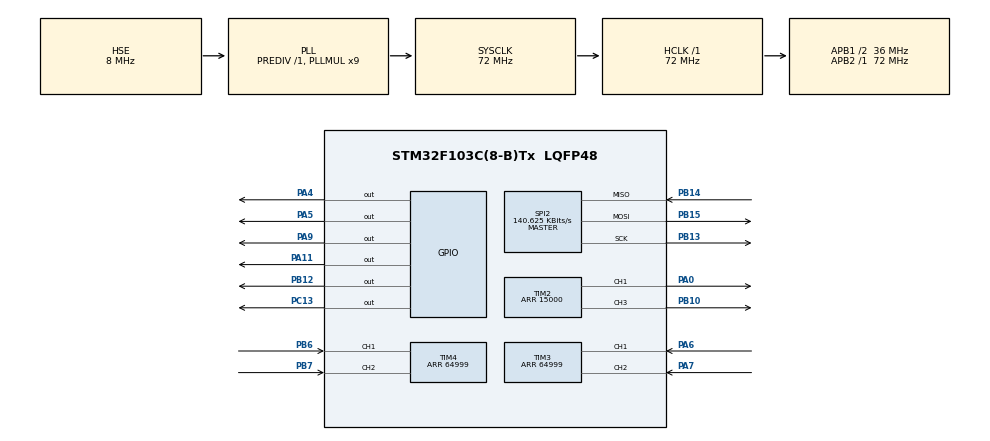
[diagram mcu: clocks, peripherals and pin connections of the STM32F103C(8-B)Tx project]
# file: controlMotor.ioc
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Mcu.Family=STM32F1
Mcu.Name=STM32F103C(8-B)Tx
Mcu.Package=LQFP48
NVIC.PriorityGroup=NVIC_PRIORITYGROUP_4
NVIC.SPI2_IRQn=true\:0\:0\:false\:false\:true\:true\:true
NVIC.TIM1_BRK_IRQn=true\:0\:0\:false\:false\:true\:true\:true
NVIC.TIM1_CC_IRQn=true\:0\:0\:false\:false\:true\:true\:true
NVIC.TIM1_TRG_COM_IRQn=true\:0\:0\:false\:false\:true\:true\:true
NVIC.TIM1_UP_IRQn=true\:0\:0\:false\:false\:true\:true\:true
NVIC.TIM3_IRQn=true\:0\:0\:false\:false\:true\:true\:true
NVIC.TIM4_IRQn=true\:0\:0\:false\:false\:true\:true\:true
PA0-WKUP.Signal=S_TIM2_CH1_ETR
PA11.Signal=GPIO_Output
PA13.Mode=Serial_Wire
PA13.Signal=SYS_JTMS-SWDIO
PA14.Mode=Serial_Wire
PA14.Signal=SYS_JTCK-SWCLK
PA4.Signal=GPIO_Output
PA5.Signal=GPIO_Output
PA6.Signal=S_TIM3_CH1
PA7.Signal=S_TIM3_CH2
PA9.Signal=GPIO_Output
PB10.Signal=S_TIM2_CH3
PB12.Signal=GPIO_Output
PB13.Mode=Full_Duplex_Master
PB13.Signal=SPI2_SCK
PB14.Mode=Full_Duplex_Master
PB14.Signal=SPI2_MISO
PB15.Mode=Full_Duplex_Master
PB15.Signal=SPI2_MOSI
PB6.Signal=S_TIM4_CH1
PB7.Signal=S_TIM4_CH2
PC13-TAMPER-RTC.Signal=GPIO_Output
PD0-OSC_IN.Mode=HSE-External-Oscillator
PD0-OSC_IN.Signal=RCC_OSC_IN
PD1-OSC_OUT.Mode=HSE-External-Oscillator
PD1-OSC_OUT.Signal=RCC_OSC_OUT
ProjectManager.HeapSize=0x200
ProjectManager.StackSize=0x400
ProjectManager.TargetToolchain=STM32CubeIDE
RCC.AHBFreq_Value=72000000
RCC.APB1CLKDivider=RCC_HCLK_DIV2
RCC.APB1Freq_Value=36000000
RCC.APB1TimFreq_Value=72000000
RCC.APB2Freq_Value=72000000
RCC.APB2TimFreq_Value=72000000
RCC.HCLKFreq_Value=72000000
RCC.PLLMUL=RCC_PLL_MUL9
RCC.PLLSourceVirtual=RCC_PLLSOURCE_HSE
RCC.SYSCLKFreq_VALUE=72000000
RCC.SYSCLKSource=RCC_SYSCLKSOURCE_PLLCLK
RCC.USBFreq_Value=72000000
SH.S_TIM2_CH1_ETR.0=TIM2_CH1,PWM Generation1 CH1
SH.S_TIM2_CH3.0=TIM2_CH3,PWM Generation3 CH3
SH.S_TIM3_CH1.0=TIM3_CH1,Encoder_Interface
SH.S_TIM3_CH2.0=TIM3_CH2,Encoder_Interface
SH.S_TIM4_CH1.0=TIM4_CH1,Encoder_Interface
SH.S_TIM4_CH2.0=TIM4_CH2,Encoder_Interface
SPI2.BaudRatePrescaler=SPI_BAUDRATEPRESCALER_256
SPI2.CalculateBaudRate=140.625 KBits/s
SPI2.Direction=SPI_DIRECTION_2LINES
SPI2.Mode=SPI_MODE_MASTER
SPI2.VirtualType=VM_MASTER
TIM1.Channel-Output\ Compare1\ No\ Output=TIM_CHANNEL_1
TIM1.Period=59999
TIM1.Prescaler=11
TIM2.Channel-PWM\ Generation1\ CH1=TIM_CHANNEL_1
TIM2.Channel-PWM\ Generation3\ CH3=TIM_CHANNEL_3
TIM2.Period=15000
TIM3.EncoderMode=TIM_ENCODERMODE_TI12
TIM3.Period=64999
TIM4.EncoderMode=TIM_ENCODERMODE_TI12
TIM4.Period=64999
VP_TIM1_VS_ClockSourceINT.Mode=Internal
VP_TIM1_VS_no_output1.Mode=Output Compare1 No Output
VP_TIM2_VS_ClockSourceINT.Mode=Internal
board=custom

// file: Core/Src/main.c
/* USER CODE BEGIN Header */
/**
 ******************************************************************************
 * @file           : main.c
 * @brief          : Main program body
 ******************************************************************************
 * @attention
 *
 * <h2><center>&copy; Copyright (c) 2021 STMicroelectronics.
 * All rights reserved.</center></h2>
 *
 * This software component is licensed by ST under BSD 3-Clause license,
 * the "License"; You may not use this file except in compliance with the
 * License. You may obtain a copy of the License at:
 *                        opensource.org/licenses/BSD-3-Clause
 *
 ******************************************************************************
 */
/* USER CODE END Header */
#include "main.h"

/* USER CODE BEGIN Includes */
#include "stdlib.h"
#include <stdio.h>
#include <inttypes.h>
#include "math.h"
/* USER CODE END Includes */

/* USER CODE BEGIN PD */
#define MAX_BUFFER 40
/* USER CODE END PD */

SPI_HandleTypeDef hspi2;

TIM_HandleTypeDef htim1;
TIM_HandleTypeDef htim2;
TIM_HandleTypeDef htim3;
TIM_HandleTypeDef htim4;

/* USER CODE BEGIN PV */
uint8_t byte;
//uint8_t byte,
uint8_t indRx = 0, flagRx, imprimir = 1, sentido;
char buffer[MAX_BUFFER];
uint8_t in_buffer[17];

int questionFlag = 0; // 0 = false ; 1 = true
int contOUFlow = 0, pulsosAnt = 0, pulsosAct = 0;
int contOUFlow2 = 0, pulsosAnt2 = 0, pulsosAct2 = 0;
double velocidadPulsos = 0, velocidadRPM = 0, deltaT = 0.01;
double velocidadPulsos2 = 0, velocidadRPM2 = 0;
double speedTest = 29.98;
int num_spi = 0;
int indexBuf = 0;
uint8_t out_buffer[14] = { ':', 'w', '1', '-', '2', '5', ';', ':', 'w', '2',
		'-', '2', '5', 'P' };
uint8_t sign_w[2] = { '+', '-' };
uint8_t resp_speed;
//variables para control
double error_vel_act = 0, error_vel_ant = 0;
double error_vel_act2 = 0, error_vel_ant2 = 0;
double velocidad_consigna = 0;
double velocidad_consigna2 = 0;
double KP1 = 20, KI1 = 2, KD1 = 4;
double KP2 = 20, KI2 = 2, KD2 = 4;

double Ui_anterior = 0, Ui_actual = 0; // para control integral
double Up = 0;
double Ud = 0;
double Ui_anterior2 = 0, Ui_actual2 = 0; // para control integral
double Up2 = 0;
double Ud2 = 0;

int control = 1;
int contador = 0; //contador de tiempo para activar la señal de referencia;
int flagCont = 0;
uint32_t duty_cycle_pid = 0;
uint32_t duty_cycle_pid2 = 0;
int stop1 = 1;
int stop2 = 1;
/* USER CODE END PV */

void SystemClock_Config(void);
static void MX_GPIO_Init(void);
static void MX_TIM1_Init(void);
static void MX_TIM2_Init(void);
static void MX_TIM3_Init(void);
static void MX_TIM4_Init(void);
static void MX_SPI2_Init(void);

/* USER CODE BEGIN 0 */
uint8_t* getSign(int motor) {
	if (motor == 1) {
		if (HAL_GPIO_ReadPin(GPIOA, GPIO_PIN_4) == GPIO_PIN_SET
				&& HAL_GPIO_ReadPin(GPIOA, GPIO_PIN_5) == GPIO_PIN_RESET) {
			return &sign_w[0];
		} else if (HAL_GPIO_ReadPin(GPIOA, GPIO_PIN_5) == GPIO_PIN_SET
				&& HAL_GPIO_ReadPin(GPIOA, GPIO_PIN_4) == GPIO_PIN_RESET) {
			return &sign_w[1];
		}
	}
	if (motor == 2) {
		if (HAL_GPIO_ReadPin(GPIOA, GPIO_PIN_9) == GPIO_PIN_SET
				&& HAL_GPIO_ReadPin(GPIOA, GPIO_PIN_11) == GPIO_PIN_RESET) {
			return &sign_w[0];
		} else if (HAL_GPIO_ReadPin(GPIOA, GPIO_PIN_9) == GPIO_PIN_SET
				&& HAL_GPIO_ReadPin(GPIOA, GPIO_PIN_11) == GPIO_PIN_RESET) {
			return &sign_w[1];
		}
	}
	return 0;
}

uint8_t* getSpeed(int motor) {
	char vel = 0;
	if (motor == 1) {
		vel = (char) speedTest;
		resp_speed = (uint8_t) vel;
		return &resp_speed;
	}
	if (motor == 2) {
		vel = (char) speedTest;
		resp_speed = (uint8_t) vel;
		return &resp_speed;
	}
	return 0;
}
void interpreteComando() {

	//uint32_t duty_cycle;
	double consigna;

	switch (buffer[0]) {
	case 'q':
	case 'Q':
		questionFlag = 1;
		break;
	case 'W':
	case 'w':
		switch (buffer[1]) {
		/*codigo ascii de '1' = 49*/
		case 49:
			if (buffer[2]) {
				/*codigo ascii de '+' = 43*/
				if (buffer[2] == 43) {
					stop1 = 0;
					HAL_GPIO_WritePin(GPIOA, GPIO_PIN_4, 1);
					HAL_GPIO_WritePin(GPIOA, GPIO_PIN_5, 0);
					if (buffer[3]) {
						consigna = atof(&buffer[3]);
						if (consigna < 35) {
							velocidad_consigna = consigna;
						} else {
							velocidad_consigna = 35;
						}
//						printf("\r\n Velocidad consigna motor 1 : %s %5.3f \r\n","+", velocidad_consigna);
					}
					/*codigo ascii de '-' = 45*/
				} else if (buffer[2] == 45) {
					HAL_GPIO_WritePin(GPIOA, GPIO_PIN_4, 0);
					HAL_GPIO_WritePin(GPIOA, GPIO_PIN_5, 1);
					stop1 = 0;
					if (buffer[3]) {
						consigna = atof(&buffer[3]);
						if (consigna < 35) {
							velocidad_consigna = -consigna;
						} else {
							velocidad_consigna = -35;
						}
//						printf("\r\n Velocidad consigna motor 1 : %5.3f \r\n", velocidad_consigna);
					}
					/*codigo ascii de '0' = 48*/
				} else if (buffer[2] == 48) {
					velocidad_consigna = 0;
					HAL_GPIO_WritePin(GPIOA, GPIO_PIN_4, 1);
					HAL_GPIO_WritePin(GPIOA, GPIO_PIN_5, 1);
					stop1 = 1;
//					printf("\r\n Velocidad consigna motor 1 : %5.3f \r\n", velocidad_consigna);

				}
			}
			break;
			/*codigo ascii de '2' = 50*/
		case 50:
			if (buffer[2]) {
				if (buffer[2] == 43) {
					stop2 = 0;
					HAL_GPIO_WritePin(GPIOA, GPIO_PIN_9, 1);
					HAL_GPIO_WritePin(GPIOA, GPIO_PIN_11, 0);
					if (buffer[3]) {
						consigna = atof(&buffer[3]);
						if (consigna < 35) {
							velocidad_consigna2 = consigna;
						} else {
							velocidad_consigna2 = 35;
						}
//						printf(
//								"\r\n Velocidad consigna motor 2 :  %s %5.3f \r\n","+", velocidad_consigna2);
					}
				} else if (buffer[2] == 45) {
					stop2 = 0;
					HAL_GPIO_WritePin(GPIOA, GPIO_PIN_9, 0);
					HAL_GPIO_WritePin(GPIOA, GPIO_PIN_11, 1);
					if (buffer[3]) {
						consigna = atof(&buffer[3]);
						if (consigna == 0) {
							velocidad_consigna2 = 0;
						} else if (consigna < 35) {
							velocidad_consigna2 = -consigna;
						} else {
							velocidad_consigna2 = -35;
						}
//						printf("\r\n Velocidad consigna motor 2 :  %5.3f \r\n",velocidad_consigna2);
					}
				} else if (buffer[2] == 48) {
					velocidad_consigna2 = 0;
					HAL_GPIO_WritePin(GPIOA, GPIO_PIN_9, 1);
					HAL_GPIO_WritePin(GPIOA, GPIO_PIN_11, 1);
					stop2 = 0;
//					printf("\r\n Velocidad consigna motor 2 :  %5.3f \r\n",velocidad_consigna2);
				}
			}
			break;
			/*codigo ascii simbolo '?' = 63 */
		case 63:
			/*Transmit velocidad*/
			indexBuf = 0;
			//HAL_SPI_TransmitReceive(&hspi2, &out_buffer[indexBuf], &byte, 1);
			//HAL__IT(&hspi2, out_buffer, 14);
			//HAL_SPI_Transmit(&hspi2,&out_buffer[0], 14, 100);
			//HAL_SPI_Transmit_IT(&hspi2, out_buffer, 14);
//			for (int i = 0; i < 6; i++) {
//					HAL_SPI_Transmit(&hspi2, &out_buffer[i], 1, 100);//, &_data[i], 1, 100);
//				}
			questionFlag = 1;
			break;
		}
		break;
	case 'p':
	case 'P':
		switch (buffer[1]) {
		/*codigo ascii de '1' = 49*/
		case 49:
			consigna = atof(&buffer[2]);
			KP1 = (float) consigna;
			printf("\r\n");
			break;
			/*codigo ascii de '2' = 50*/
		case 50:
			consigna = atof(&buffer[2]);
			KP2 = (float) consigna;
			printf("\r\n");
			break;
		default:
			printf("\r\n Por favor indicar el valor correcto ( 1 ó 2 )\r\n");
			break;

		}
		break;
	case 'i':
	case 'I':
		switch (buffer[1]) {
		/*codigo ascii de '1' = 49*/
		case 49:
			consigna = atof(&buffer[2]);
			KI1 = (float) consigna;
			printf("\r\n");
			break;
			/*codigo ascii de '2' = 50*/
		case 50:
			consigna = atof(&buffer[2]);
			KI2 = (float) consigna;
			printf("\r\n");
			break;
		default:
			printf("\r\n Por favor indicar el valor correcto ( 1 ó 2 )\r\n");
			break;
		}
		break;
	case 'd':
	case 'D':
		switch (buffer[1]) {
		/*codigo ascii de '1' = 49*/
		case 49:
			consigna = atof(&buffer[2]);
			KD1 = (float) consigna;
			printf("\r\n");
			break;
			/*codigo ascii de '2' = 50*/
		case 50:
			consigna = atof(&buffer[2]);
			KD2 = (float) consigna;
			printf("\r\n");
			break;
		default:
			printf("\r\n Por favor indicar el valor correcto ( 1 ó 2 )\r\n");
			break;
		}
		break;
	}

}

void HAL_TIM_PeriodElapsedCallback(TIM_HandleTypeDef *htim) {
	if (htim->Instance == TIM1) {

		//pulsosAct = contOUFlow*(htim3.Instance->ARR) + __HAL_TIM_GET_COUNTER(&htim3);
		pulsosAct = (contOUFlow * 65000) + __HAL_TIM_GET_COUNTER(&htim3);
		velocidadPulsos = (pulsosAct - pulsosAnt) / deltaT;
		velocidadRPM = velocidadPulsos / (168 * 44) * 60;
		pulsosAnt = pulsosAct;

		pulsosAct2 = (contOUFlow2 * 65000) + __HAL_TIM_GET_COUNTER(&htim4);
		velocidadPulsos2 = (pulsosAct2 - pulsosAnt2) / deltaT;
		velocidadRPM2 = velocidadPulsos2 / (168 * 44) * 60;
		pulsosAnt2 = pulsosAct2;

		//para el control
		if (control == 1) {
			//calculo PID:
			/*
			 *----------------  control motor 1
			 */
			error_vel_act = velocidad_consigna - velocidadRPM;
//			if(error_vel_act<0 ){
//				HAL_GPIO_WritePin(GPIOA, GPIO_PIN_4, 0);
//			    HAL_GPIO_WritePin(GPIOA, GPIO_PIN_5, 1);
//			}else if(error_vel_act>0){
//				HAL_GPIO_WritePin(GPIOA, GPIO_PIN_4, 1);
//			   HAL_GPIO_WritePin(GPIOA, GPIO_PIN_5, 0);
//			}
//			else if(error_vel_act==0){
//				Ui_anterior=0;
//			}
			if (stop1 == 1) {
				Ui_anterior = 0;
			}
//			error_vel_acterror_vel_act);
			Up = KP1 * error_vel_act;
			Ui_actual = Ui_anterior + (KI1 * deltaT * error_vel_ant);
			Ud = (KD1 / deltaT) * (error_vel_act - error_vel_ant);
			if (velocidad_consigna > 0) {
				duty_cycle_pid = (uint32_t) fabs(
						duty_cycle_pid + (Up + Ui_actual + Ud));
			} else if (velocidad_consigna < 0) {
				duty_cycle_pid = (uint32_t) fabs(
						duty_cycle_pid - (Up + Ui_actual + Ud));
			} else {
				duty_cycle_pid = 0;
			}

			if (duty_cycle_pid > 14000) {
				duty_cycle_pid = 14000;
			}
			__HAL_TIM_SET_COMPARE(&htim2, TIM_CHANNEL_1, duty_cycle_pid);
			Ui_anterior = Ui_actual;
			error_vel_ant = error_vel_act;

			/*
			 * ------------------control motor 2
			 */
			error_vel_act2 = velocidad_consigna2 - velocidadRPM2;

//			if(error_vel_act2<0 ){
//				HAL_GPIO_WritePin(GPIOA, GPIO_PIN_9, 0);
//				HAL_GPIO_WritePin(GPIOA, GPIO_PIN_11, 1);
//			}else if(error_vel_act2>0){
//				HAL_GPIO_WritePin(GPIOA, GPIO_PIN_9, 1);
//			    HAL_GPIO_WritePin(GPIOA, GPIO_PIN_11, 0);
//			}
//			else if(error_vel_act2==0){
//				Ui_anterior2=0;
//			}
//			error_vel_act2= fabs(error_vel_act2);
			if (stop2 == 1) {
				Ui_anterior2 = 0;
			}
			Up2 = KP2 * error_vel_act2;
			Ui_actual2 = Ui_anterior2 + KI2 * deltaT * error_vel_ant2;
			Ud2 = KD2 / deltaT * (error_vel_act2 - error_vel_ant2);
			if (velocidad_consigna2 > 0) {
				duty_cycle_pid2 = (uint32_t) fabs(
						duty_cycle_pid2 + (Up2 + Ui_actual2 + Ud2));
			} else if (velocidad_consigna2 < 0) {
				duty_cycle_pid2 = (uint32_t) fabs(
						duty_cycle_pid2 - (Up2 + Ui_actual2 + Ud2));
			} else {
				duty_cycle_pid2 = 0;
			}
			if (duty_cycle_pid2 > 14000) {
				duty_cycle_pid2 = 14000;
			}
			__HAL_TIM_SET_COMPARE(&htim2, TIM_CHANNEL_3, duty_cycle_pid2);
			Ui_anterior2 = Ui_actual2;
			error_vel_ant2 = error_vel_act2;
		}
	} else if (htim->Instance == TIM3) {
		if (__HAL_TIM_GET_COUNTER(&htim3) > (htim->Init.Period + 1) / 2) { //Underflow
			contOUFlow--;
//			printf("underflow motor 1 \r\n");
		} else { //Overflow
			contOUFlow++;
//			printf("overflow motor 1 \r\n");
		}
	} else if (htim->Instance == TIM4) {
		if (__HAL_TIM_GET_COUNTER(&htim4) > (htim->Init.Period + 1) / 2) { //Underflow
			contOUFlow2--;
//			printf("underflow motor 2 \r\n");
		} else { //Overflow
			contOUFlow2++;
//			printf("overflow motor 2 \r\n");
		}
	}
}

void HAL_SPI_TxCpltCallback(SPI_HandleTypeDef *hspi) {

}

/**
 * @brief  The application entry point.
 * @retval int
 */
void HAL_SPI_RxCpltCallback(SPI_HandleTypeDef *hspi) {
	num_spi = num_spi + 10;
	if (hspi->Instance == SPI2) {
		for (int i = 0; i < 17; i++) {
			switch (in_buffer[i]) {
			case ':': //Comienzo de la trama
				flagRx = 1;
				indRx = 0;
				break;
			case '\r': //Retorno, fin de trama.
			case ';':  //Fin de trama.
				if (flagRx) {
					flagRx = 0;
					buffer[indRx] = 0;
					interpreteComando();
				}
				break;
			case 8: //Retroceso es permitido de esta manera.
				if (flagRx) {
					if (indRx > 0) {
						indRx--;
					}
				}
				break;
			default: //Almacenamiento de la trama.
				if (flagRx) {
					buffer[indRx] = byte;
					if (indRx < MAX_BUFFER - 1) {
						indRx++;
					}

				}
				break;
			}
		}

		/* Receive one byte in interrupt mode */
		//HAL_SPI_TransmitReceive_IT(&hspi2, &out_buffer[indexBuf], &byte, 1);
//		  HAL_SPI_Receive_IT(&hspi2, &byte, 1);
		if (questionFlag == 0) {
			HAL_SPI_Receive_IT(&hspi2, &in_buffer[0], 18);
		}

	}
}
/* USER CODE END 0 */

int main(void) {

	/* MCU Configuration--------------------------------------------------------*/

	/* Reset of all peripherals, Initializes the Flash interface and the Systick. */
	HAL_Init();

	/* Configure the system clock */
	SystemClock_Config();

	/* Initialize all configured peripherals */
	MX_GPIO_Init();
	MX_TIM1_Init();
	MX_TIM2_Init();
	MX_TIM3_Init();
	MX_TIM4_Init();
	MX_SPI2_Init();
	/* USER CODE BEGIN 2 */

	//HAL_UART_Receive_IT(&huart2, &byte, 1);
	HAL_SPI_Receive_IT(&hspi2, &in_buffer[0], 17);

	HAL_TIM_Base_Start_IT(&htim1);
	HAL_TIM_OC_Start_IT(&htim1, TIM_CHANNEL_1);

	/*Se activan canales para generacion PWM- */
	/*canal 1 para motor 1 */
	/*canal  para motor 2*/
	HAL_TIM_Base_Start(&htim2);
	HAL_TIM_PWM_Start_IT(&htim2, TIM_CHANNEL_1);
	HAL_TIM_PWM_Start_IT(&htim2, TIM_CHANNEL_3);

	HAL_TIM_Base_Start_IT(&htim3);
	HAL_TIM_Encoder_Start_IT(&htim3, TIM_CHANNEL_ALL);

	HAL_TIM_Base_Start_IT(&htim4);
	HAL_TIM_Encoder_Start_IT(&htim4, TIM_CHANNEL_ALL);

	/*Se activa en sentido positivo del motor  1*/
	HAL_GPIO_WritePin(GPIOA, GPIO_PIN_4, 1);
	HAL_GPIO_WritePin(GPIOA, GPIO_PIN_5, 0);

	/*Se activa el sentido positivo del motor 2*/
	HAL_GPIO_WritePin(GPIOA, GPIO_PIN_9, 0);
	HAL_GPIO_WritePin(GPIOA, GPIO_PIN_11, 1);
	/*Se fuerza valor del contador del timer 3 y 4 para lecturas de encoders*/
	__HAL_TIM_SET_COUNTER(&htim3, 0);
	__HAL_TIM_SET_COUNTER(&htim4, 0);

	/* USER CODE END 2 */

	/* Infinite loop */
	/* USER CODE BEGIN WHILE */
	while (1) {

		HAL_GPIO_WritePin(GPIOC, GPIO_PIN_13, 1);
		HAL_Delay(100);
		HAL_GPIO_WritePin(GPIOC, GPIO_PIN_13, 0);
		HAL_Delay(100);

		if(questionFlag){
			HAL_SPI_Transmit(&hspi2, &out_buffer[0], 14, 100);
			HAL_SPI_Receive_IT(&hspi2, &in_buffer[0], 17);
			questionFlag = 0;
		}
		/* USER CODE END WHILE */

	}
}

void SystemClock_Config(void) {
	RCC_OscInitTypeDef RCC_OscInitStruct = { 0 };
	RCC_ClkInitTypeDef RCC_ClkInitStruct = { 0 };

	/** Initializes the RCC Oscillators according to the specified parameters
	 * in the RCC_OscInitTypeDef structure.
	 */
	RCC_OscInitStruct.OscillatorType = RCC_OSCILLATORTYPE_HSE;
	RCC_OscInitStruct.HSEState = RCC_HSE_ON;
	RCC_OscInitStruct.HSEPredivValue = RCC_HSE_PREDIV_DIV1;
	RCC_OscInitStruct.HSIState = RCC_HSI_ON;
	RCC_OscInitStruct.PLL.PLLState = RCC_PLL_ON;
	RCC_OscInitStruct.PLL.PLLSource = RCC_PLLSOURCE_HSE;
	RCC_OscInitStruct.PLL.PLLMUL = RCC_PLL_MUL9;
	if (HAL_RCC_OscConfig(&RCC_OscInitStruct) != HAL_OK) {
		Error_Handler();
	}
	/** Initializes the CPU, AHB and APB buses clocks
	 */
	RCC_ClkInitStruct.ClockType = RCC_CLOCKTYPE_HCLK | RCC_CLOCKTYPE_SYSCLK
			| RCC_CLOCKTYPE_PCLK1 | RCC_CLOCKTYPE_PCLK2;
	RCC_ClkInitStruct.SYSCLKSource = RCC_SYSCLKSOURCE_PLLCLK;
	RCC_ClkInitStruct.AHBCLKDivider = RCC_SYSCLK_DIV1;
	RCC_ClkInitStruct.APB1CLKDivider = RCC_HCLK_DIV2;
	RCC_ClkInitStruct.APB2CLKDivider = RCC_HCLK_DIV1;

	if (HAL_RCC_ClockConfig(&RCC_ClkInitStruct, FLASH_LATENCY_2) != HAL_OK) {
		Error_Handler();
	}
}

static void MX_SPI2_Init(void) {

	/* SPI2 parameter configuration*/
	hspi2.Instance = SPI2;
	hspi2.Init.Mode = SPI_MODE_SLAVE;
	hspi2.Init.Direction = SPI_DIRECTION_2LINES;
	hspi2.Init.DataSize = SPI_DATASIZE_8BIT;
	hspi2.Init.CLKPolarity = SPI_POLARITY_LOW;
	hspi2.Init.CLKPhase = SPI_PHASE_1EDGE;
	hspi2.Init.NSS = SPI_NSS_HARD_INPUT;
	hspi2.Init.BaudRatePrescaler = SPI_BAUDRATEPRESCALER_256;
	hspi2.Init.FirstBit = SPI_FIRSTBIT_MSB;
	hspi2.Init.TIMode = SPI_TIMODE_DISABLE;
	hspi2.Init.CRCCalculation = SPI_CRCCALCULATION_DISABLE;
	hspi2.Init.CRCPolynomial = 10;
	if (HAL_SPI_Init(&hspi2) != HAL_OK) {
		Error_Handler();
	}

}

static void MX_TIM1_Init(void) {

	TIM_ClockConfigTypeDef sClockSourceConfig = { 0 };
	TIM_MasterConfigTypeDef sMasterConfig = { 0 };
	TIM_OC_InitTypeDef sConfigOC = { 0 };
	TIM_BreakDeadTimeConfigTypeDef sBreakDeadTimeConfig = { 0 };

	htim1.Instance = TIM1;
	htim1.Init.Prescaler = 11;
	htim1.Init.CounterMode = TIM_COUNTERMODE_UP;
	htim1.Init.Period = 59999;
	htim1.Init.ClockDivision = TIM_CLOCKDIVISION_DIV1;
	htim1.Init.RepetitionCounter = 0;
	htim1.Init.AutoReloadPreload = TIM_AUTORELOAD_PRELOAD_DISABLE;
	if (HAL_TIM_Base_Init(&htim1) != HAL_OK) {
		Error_Handler();
	}
	sClockSourceConfig.ClockSource = TIM_CLOCKSOURCE_INTERNAL;
	if (HAL_TIM_ConfigClockSource(&htim1, &sClockSourceConfig) != HAL_OK) {
		Error_Handler();
	}
	if (HAL_TIM_OC_Init(&htim1) != HAL_OK) {
		Error_Handler();
	}
	sMasterConfig.MasterOutputTrigger = TIM_TRGO_RESET;
	sMasterConfig.MasterSlaveMode = TIM_MASTERSLAVEMODE_DISABLE;
	if (HAL_TIMEx_MasterConfigSynchronization(&htim1, &sMasterConfig)
			!= HAL_OK) {
		Error_Handler();
	}
	sConfigOC.OCMode = TIM_OCMODE_TIMING;
	sConfigOC.Pulse = 0;
	sConfigOC.OCPolarity = TIM_OCPOLARITY_HIGH;
	sConfigOC.OCNPolarity = TIM_OCNPOLARITY_HIGH;
	sConfigOC.OCFastMode = TIM_OCFAST_DISABLE;
	sConfigOC.OCIdleState = TIM_OCIDLESTATE_RESET;
	sConfigOC.OCNIdleState = TIM_OCNIDLESTATE_RESET;
	if (HAL_TIM_OC_ConfigChannel(&htim1, &sConfigOC, TIM_CHANNEL_1) != HAL_OK) {
		Error_Handler();
	}
	sBreakDeadTimeConfig.OffStateRunMode = TIM_OSSR_DISABLE;
	sBreakDeadTimeConfig.OffStateIDLEMode = TIM_OSSI_DISABLE;
	sBreakDeadTimeConfig.LockLevel = TIM_LOCKLEVEL_OFF;
	sBreakDeadTimeConfig.DeadTime = 0;
	sBreakDeadTimeConfig.BreakState = TIM_BREAK_DISABLE;
	sBreakDeadTimeConfig.BreakPolarity = TIM_BREAKPOLARITY_HIGH;
	sBreakDeadTimeConfig.AutomaticOutput = TIM_AUTOMATICOUTPUT_DISABLE;
	if (HAL_TIMEx_ConfigBreakDeadTime(&htim1, &sBreakDeadTimeConfig)
			!= HAL_OK) {
		Error_Handler();
	}

}

static void MX_TIM2_Init(void) {

	TIM_ClockConfigTypeDef sClockSourceConfig = { 0 };
	TIM_MasterConfigTypeDef sMasterConfig = { 0 };
	TIM_OC_InitTypeDef sConfigOC = { 0 };

	htim2.Instance = TIM2;
	htim2.Init.Prescaler = 0;
	htim2.Init.CounterMode = TIM_COUNTERMODE_UP;
	htim2.Init.Period = 15000;
	htim2.Init.ClockDivision = TIM_CLOCKDIVISION_DIV1;
	htim2.Init.AutoReloadPreload = TIM_AUTORELOAD_PRELOAD_DISABLE;
	if (HAL_TIM_Base_Init(&htim2) != HAL_OK) {
		Error_Handler();
	}
	sClockSourceConfig.ClockSource = TIM_CLOCKSOURCE_INTERNAL;
	if (HAL_TIM_ConfigClockSource(&htim2, &sClockSourceConfig) != HAL_OK) {
		Error_Handler();
	}
	if (HAL_TIM_PWM_Init(&htim2) != HAL_OK) {
		Error_Handler();
	}
	sMasterConfig.MasterOutputTrigger = TIM_TRGO_RESET;
	sMasterConfig.MasterSlaveMode = TIM_MASTERSLAVEMODE_DISABLE;
	if (HAL_TIMEx_MasterConfigSynchronization(&htim2, &sMasterConfig)
			!= HAL_OK) {
		Error_Handler();
	}
	sConfigOC.OCMode = TIM_OCMODE_PWM1;
	sConfigOC.Pulse = 0;
	sConfigOC.OCPolarity = TIM_OCPOLARITY_HIGH;
	sConfigOC.OCFastMode = TIM_OCFAST_DISABLE;
	if (HAL_TIM_PWM_ConfigChannel(&htim2, &sConfigOC, TIM_CHANNEL_1)
			!= HAL_OK) {
		Error_Handler();
	}
	if (HAL_TIM_PWM_ConfigChannel(&htim2, &sConfigOC, TIM_CHANNEL_3)
			!= HAL_OK) {
		Error_Handler();
	}
	HAL_TIM_MspPostInit(&htim2);

}

static void MX_TIM3_Init(void) {

	TIM_Encoder_InitTypeDef sConfig = { 0 };
	TIM_MasterConfigTypeDef sMasterConfig = { 0 };

	htim3.Instance = TIM3;
	htim3.Init.Prescaler = 0;
	htim3.Init.CounterMode = TIM_COUNTERMODE_UP;
	htim3.Init.Period = 64999;
	htim3.Init.ClockDivision = TIM_CLOCKDIVISION_DIV1;
	htim3.Init.AutoReloadPreload = TIM_AUTORELOAD_PRELOAD_DISABLE;
	sConfig.EncoderMode = TIM_ENCODERMODE_TI12;
	sConfig.IC1Polarity = TIM_ICPOLARITY_RISING;
	sConfig.IC1Selection = TIM_ICSELECTION_DIRECTTI;
	sConfig.IC1Prescaler = TIM_ICPSC_DIV1;
	sConfig.IC1Filter = 0;
	sConfig.IC2Polarity = TIM_ICPOLARITY_RISING;
	sConfig.IC2Selection = TIM_ICSELECTION_DIRECTTI;
	sConfig.IC2Prescaler = TIM_ICPSC_DIV1;
	sConfig.IC2Filter = 0;
	if (HAL_TIM_Encoder_Init(&htim3, &sConfig) != HAL_OK) {
		Error_Handler();
	}
	sMasterConfig.MasterOutputTrigger = TIM_TRGO_RESET;
	sMasterConfig.MasterSlaveMode = TIM_MASTERSLAVEMODE_DISABLE;
	if (HAL_TIMEx_MasterConfigSynchronization(&htim3, &sMasterConfig)
			!= HAL_OK) {
		Error_Handler();
	}

}

static void MX_TIM4_Init(void) {

	TIM_Encoder_InitTypeDef sConfig = { 0 };
	TIM_MasterConfigTypeDef sMasterConfig = { 0 };

	htim4.Instance = TIM4;
	htim4.Init.Prescaler = 0;
	htim4.Init.CounterMode = TIM_COUNTERMODE_UP;
	htim4.Init.Period = 64999;
	htim4.Init.ClockDivision = TIM_CLOCKDIVISION_DIV1;
	htim4.Init.AutoReloadPreload = TIM_AUTORELOAD_PRELOAD_DISABLE;
	sConfig.EncoderMode = TIM_ENCODERMODE_TI12;
	sConfig.IC1Polarity = TIM_ICPOLARITY_RISING;
	sConfig.IC1Selection = TIM_ICSELECTION_DIRECTTI;
	sConfig.IC1Prescaler = TIM_ICPSC_DIV1;
	sConfig.IC1Filter = 0;
	sConfig.IC2Polarity = TIM_ICPOLARITY_RISING;
	sConfig.IC2Selection = TIM_ICSELECTION_DIRECTTI;
	sConfig.IC2Prescaler = TIM_ICPSC_DIV1;
	sConfig.IC2Filter = 0;
	if (HAL_TIM_Encoder_Init(&htim4, &sConfig) != HAL_OK) {
		Error_Handler();
	}
	sMasterConfig.MasterOutputTrigger = TIM_TRGO_RESET;
	sMasterConfig.MasterSlaveMode = TIM_MASTERSLAVEMODE_DISABLE;
	if (HAL_TIMEx_MasterConfigSynchronization(&htim4, &sMasterConfig)
			!= HAL_OK) {
		Error_Handler();
	}

}

static void MX_GPIO_Init(void) {
	GPIO_InitTypeDef GPIO_InitStruct = { 0 };

	/* GPIO Ports Clock Enable */
	__HAL_RCC_GPIOC_CLK_ENABLE();
	__HAL_RCC_GPIOD_CLK_ENABLE();
	__HAL_RCC_GPIOA_CLK_ENABLE();
	__HAL_RCC_GPIOB_CLK_ENABLE();

	/*Configure GPIO pin Output Level */
	HAL_GPIO_WritePin(GPIOC, GPIO_PIN_13, GPIO_PIN_RESET);

	/*Configure GPIO pin Output Level */
	HAL_GPIO_WritePin(GPIOA, GPIO_PIN_4 | GPIO_PIN_5 | GPIO_PIN_9 | GPIO_PIN_11,
			GPIO_PIN_RESET);

	/*Configure GPIO pin : PC13 */
	GPIO_InitStruct.Pin = GPIO_PIN_13;
	GPIO_InitStruct.Mode = GPIO_MODE_OUTPUT_PP;
	GPIO_InitStruct.Pull = GPIO_NOPULL;
	GPIO_InitStruct.Speed = GPIO_SPEED_FREQ_LOW;
	HAL_GPIO_Init(GPIOC, &GPIO_InitStruct);

	/*Configure GPIO pins : PA4 PA5 PA9 PA11 */
	GPIO_InitStruct.Pin = GPIO_PIN_4 | GPIO_PIN_5 | GPIO_PIN_9 | GPIO_PIN_11;
	GPIO_InitStruct.Mode = GPIO_MODE_OUTPUT_PP;
	GPIO_InitStruct.Pull = GPIO_NOPULL;
	GPIO_InitStruct.Speed = GPIO_SPEED_FREQ_LOW;
	HAL_GPIO_Init(GPIOA, &GPIO_InitStruct);

}

void Error_Handler(void) {
	/* USER CODE BEGIN Error_Handler_Debug */
	/* User can add his own implementation to report the HAL error return state */
//	__disable_irq();
//	while (1) {
//	}
	/* USER CODE END Error_Handler_Debug */
}

/************************ (C) COPYRIGHT STMicroelectronics *****END OF FILE****/
